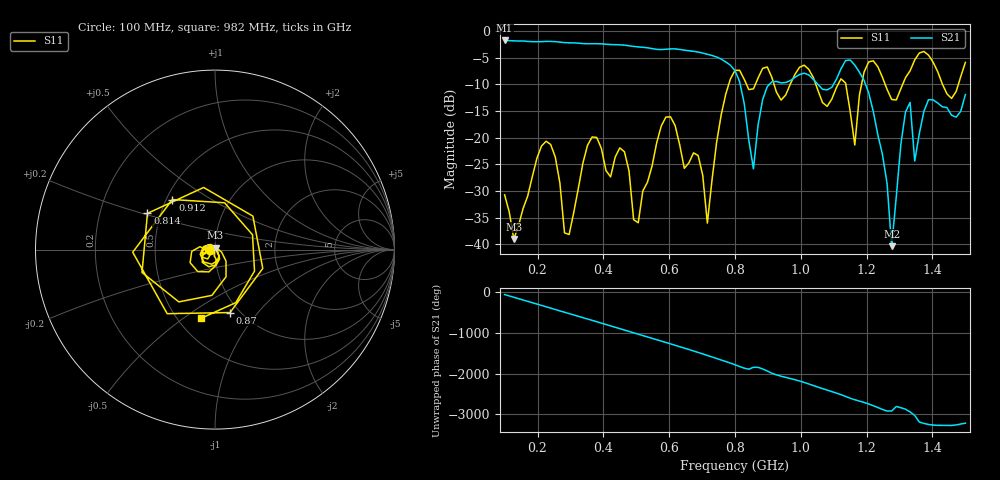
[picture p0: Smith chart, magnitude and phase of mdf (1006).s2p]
! NanoVNA-App
! Date: 2025-09-25 15:46:15
! Start: 100MHz Stop: 1,5GHz Points: 101
! S-Parameter data: F S11 S21 S12 S22
# Hz S RI R 50
!  Frequency  S11_Real  S11_Imag  S21_Real  S21_Imag  S12_Real  S12_Imag  S22_Real  S22_Imag
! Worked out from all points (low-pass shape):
!   101 points, 100 MHz to 1.5 GHz, reference 50 ohm
!   highest |S21| = -1.80 dB at 100 MHz (marker M1); lowest = -40.3 dB at 1.276 GHz (marker M2)
!   |S21| within 3 dB of the highest: start of sweep to 739.4 MHz
!   lowest |S11| = -39.0 dB at 128 MHz (marker M3), VSWR 1.02, Z = 50.3 + j1.08 ohm
!   |S11| at or under -10 dB: start of sweep to 781.1 MHz; 1.045 GHz to 1.113 GHz (68.13 MHz wide, 6.31 % of centre); 1.256 GHz to 1.31 GHz (53.66 MHz wide, 4.18 % of centre) (the widest 3 of 7)
!   S12 and S22 are empty: the file has one direction only
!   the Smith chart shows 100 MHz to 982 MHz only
!   S11 on the Smith chart (normalised r, x): 100 MHz: 0.94, -0.01; 814 MHz: 0.42, +0.21; 870 MHz: 0.90, -0.73; 912 MHz: 0.54, +0.35; 982 MHz: 0.65, -0.59
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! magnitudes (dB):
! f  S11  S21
! 100 MHz  -30.7  -1.8
! 128 MHz  -39.0  -1.9
! 212 MHz  -21.6  -2.0
! 282 MHz  -37.8  -2.2
! 338 MHz  -24.8  -2.4
! 464 MHz  -22.6  -2.7
! 506 MHz  -36.0  -3.0
! 576 MHz  -17.8  -3.5
! 716 MHz  -36.0  -4.4
! 800 MHz  -7.4  -7.4
! 814 MHz  -7.4  -9.5
! 856 MHz  -10.9  -25.8
! 870 MHz  -8.9  -17.7
! 912 MHz  -8.7  -9.6
! 982 MHz  -8.2  -8.7
! 1.038 GHz  -8.7  -9.1
! 1.164 GHz  -21.4  -6.4
! 1.192 GHz  -7.7  -9.3
! 1.276 GHz  -12.8  -40.3
! 1.332 GHz  -7.5  -13.4
! 1.346 GHz  -5.5  -24.4
! 1.5 GHz  -5.9  -11.9
